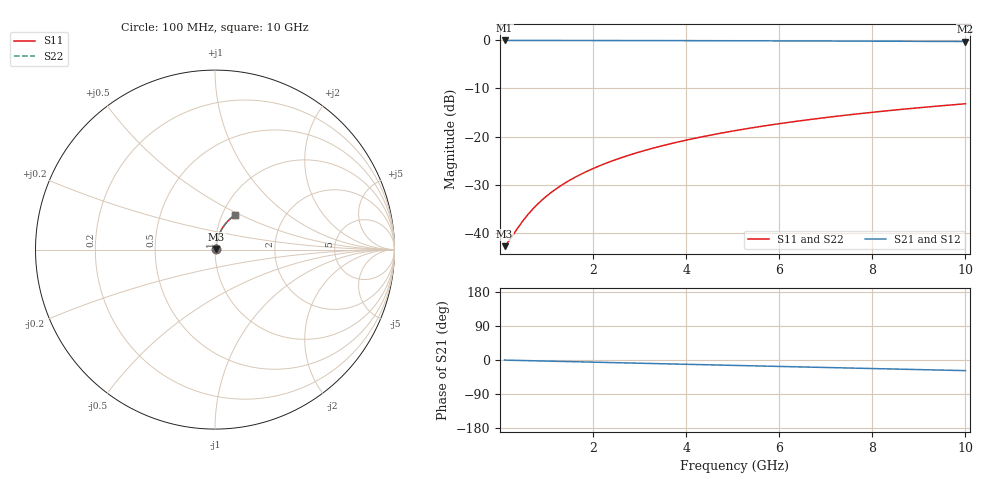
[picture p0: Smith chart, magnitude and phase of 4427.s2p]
# Hz S RI R 50.00
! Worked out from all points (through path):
!   100 points, 100 MHz to 10 GHz, reference 50 ohm
!   highest |S21| = -0.06 dB at 100 MHz (marker M1); lowest = -0.3 dB at 10 GHz (marker M2)
!   group delay of S21, straight-line fit = 7.79 ps
!   lowest |S11| = -42.7 dB at 100 MHz (marker M3), VSWR 1.01, Z = 50.7 + j0.232 ohm
!   |S11| at or under -10 dB: start of sweep to end of sweep
!   |S22| runs from -42.7 to -13.2 dB; largest |S21 - S12| = 0
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1e8  0.007 0.00229  0.993 -0.00493  0.993 -0.00493  0.007 0.00229
2e8  0.00708 0.00457  0.9929 -0.00985  0.9929 -0.00985  0.00708 0.00457
4e8  0.00728 0.00914  0.9927 -0.0197  0.9927 -0.0197  0.00728 0.00914
5e8  0.0074 0.0114  0.9925 -0.0246  0.9925 -0.0246  0.0074 0.0114
6e8  0.00755 0.0137  0.9923 -0.0295  0.9923 -0.0295  0.00755 0.0137
7e8  0.00771 0.016  0.9921 -0.0345  0.9921 -0.0345  0.00771 0.016
9e8  0.00811 0.0205  0.9916 -0.0443  0.9916 -0.0443  0.00811 0.0205
1.1e9  0.00859 0.0251  0.991 -0.0541  0.991 -0.0541  0.00859 0.0251
1.3e9  0.00915 0.0296  0.9902 -0.0639  0.9902 -0.0639  0.00915 0.0296
1.5e9  0.00981 0.0341  0.9894 -0.0737  0.9894 -0.0737  0.00981 0.0341
1.8e9  0.011 0.0409  0.9879 -0.0884  0.9879 -0.0884  0.011 0.0409
2.1e9  0.0123 0.0476  0.9861 -0.103  0.9861 -0.103  0.0123 0.0476
2.5e9  0.0144 0.0564  0.9834 -0.1225  0.9834 -0.1225  0.0144 0.0564
2.9e9  0.0168 0.0652  0.9801 -0.1418  0.9801 -0.1418  0.0168 0.0652
3.4e9  0.0204 0.076  0.9755 -0.1658  0.9755 -0.1658  0.0204 0.076
4.2e9  0.0271 0.0928  0.9666 -0.2038  0.9666 -0.2038  0.0271 0.0928
5.1e9  0.0362 0.111  0.9545 -0.2458  0.9545 -0.2458  0.0362 0.111
5.9e9  0.0456 0.1264  0.942 -0.2824  0.942 -0.2824  0.0456 0.1264
6.7e9  0.0561 0.1409  0.9279 -0.3181  0.9279 -0.3181  0.0561 0.1409
7.5e9  0.0676 0.1545  0.9123 -0.3528  0.9123 -0.3528  0.0676 0.1545
8.4e9  0.0817 0.1686  0.893 -0.3908  0.893 -0.3908  0.0817 0.1686
1e10  0.1094 0.1903  0.8546 -0.4548  0.8546 -0.4548  0.1094 0.1903
